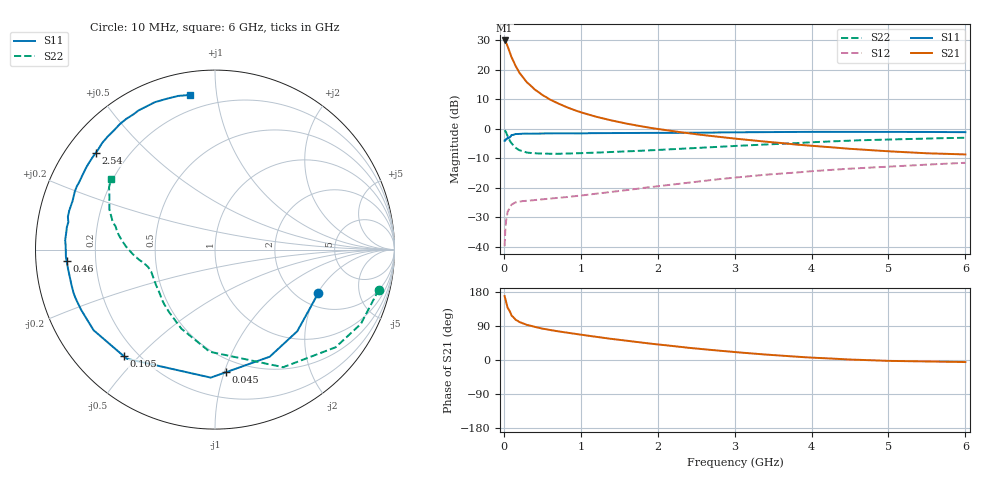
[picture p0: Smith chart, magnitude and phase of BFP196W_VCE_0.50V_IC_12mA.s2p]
! Infineon Technologies  Discrete & RF Semiconductors
! BFP196W
! VCE = 0.50V,  IC =  12mA
! Common Emitter S-Parameters:  Jan 2016
# GHz  S  MA  R  50
!  f  S11  S21  S12  S22
! GHz  MAG  ANG  MAG  ANG  MAG  ANG  MAG  ANG
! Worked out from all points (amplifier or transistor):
!   210 points, 10 MHz to 6 GHz, reference 50 ohm
!   highest |S21| = 29.9 dB at 10 MHz (marker M1)
!   |S21| within 3 dB of that: start of sweep to 63.28 MHz
!   unconditionally stable (mu >= 1): 963.8 MHz to end of sweep
!   at 185 MHz: K = 0.25, MSG = 22.3 dB, |S12| = -24.8 dB
!   at 1.52 GHz: K = 1.19, MAG = 8.9 dB, |S12| = -21.1 dB
!   at 6 GHz: K = 1.08, MAG = -0.3 dB, |S12| = -11.6 dB
!   S11 on the Smith chart (normalised r, x): 10 MHz: 2.57, -2.03; 45 MHz: 0.39, -1.01; 105 MHz: 0.15, -0.45; 460 MHz: 0.09, -0.04; 2.54 GHz: 0.09, +0.35; 6 GHz: 0.12, +0.84
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0.01  0.6249 -22.7  31.31 168.6  0.0102 77.1  0.9394 -13.7
0.02  0.6457 -44.8  30.68 160.3  0.0199 71.1  0.9122 -27.0
0.03  0.6701 -62.9  28.92 151.8  0.0277 62.8  0.8646 -39.0
0.045  0.6865 -85.1  25.51 141.4  0.0363 52.5  0.7739 -54.2
0.05  0.7136 -91.9  24.59 137.4  0.0393 50.1  0.7575 -59.9
0.1  0.7818 -128.9  16.28 117.3  0.0517 33.2  0.5696 -93.0
0.105  0.7814 -130.7  15.81 116.5  0.0521 32.4  0.5579 -94.7
0.15  0.812 -146.4  11.71 106.5  0.0562 25.7  0.4789 -113.0
0.2  0.818 -155.8  8.978 100.4  0.0578 22.9  0.4335 -125.8
0.26  0.8242 -162.8  7.079 95.3  0.0595 21.1  0.4087 -135.7
0.3  0.8234 -166.2  6.106 92.7  0.0599 20.6  0.3943 -140.9
0.4  0.826 -172.7  4.633 87.2  0.0616 21.0  0.3832 -149.2
0.46  0.8287 -175.5  4.089 84.8  0.0627 21.7  0.3797 -152.4
0.7  0.8364 176.4  2.7 75.8  0.0671 25.6  0.3755 -160.6
1.02  0.833 169.0  1.865 66.3  0.0741 30.9  0.3855 -165.5
1.4  0.8383 161.3  1.381 55.6  0.0848 36.0  0.4025 -168.9
2.02  0.8482 149.8  0.98 40.7  0.1068 41.0  0.437 -173.9
2.54  0.8552 141.1  0.794 29.5  0.128 41.7  0.4735 -179.0
3.1  0.8692 131.9  0.661 19.3  0.1526 40.1  0.5168 175.0
4.1  0.8842 117.5  0.502 5.4  0.1942 34.6  0.597 163.8
5.1  0.8815 106.6  0.408 -2.6  0.2313 27.7  0.6619 152.8
6  0.8731 99.2  0.366 -5.4  0.2642 21.7  0.7017 145.7
